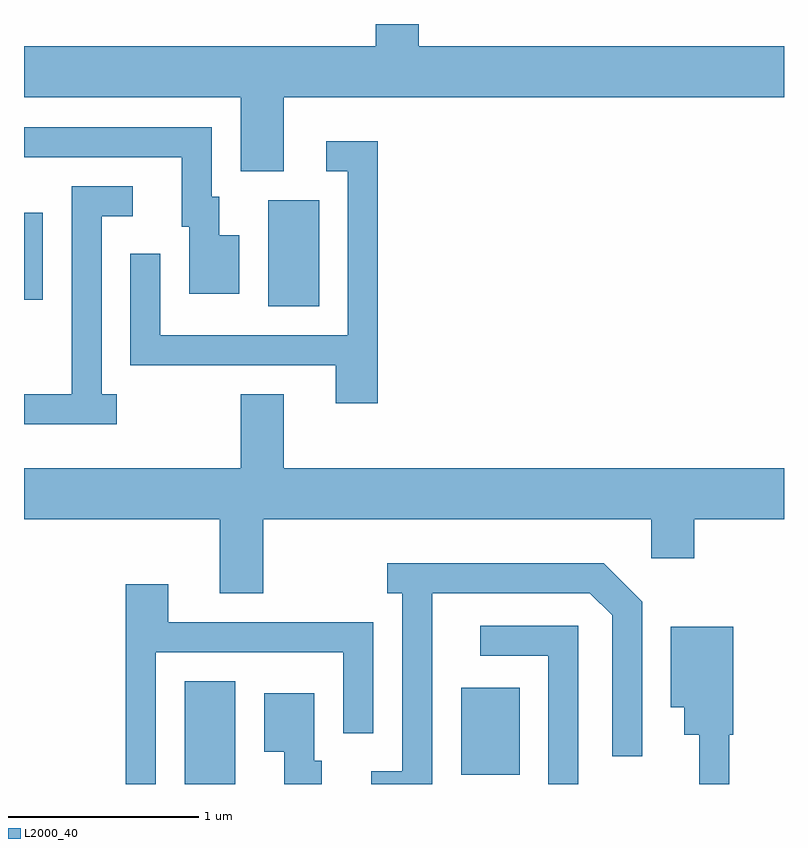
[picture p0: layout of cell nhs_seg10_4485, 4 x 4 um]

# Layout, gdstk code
import gdstk
lib = gdstk.Library(unit=1e-6, precision=1e-09)
def R(c, l, rs):  # rectangles x0, y0, x1, y1
    for r in rs: c.add(gdstk.rectangle(r[:2], r[2:], *l))
def P(c, l, *ps):  # polygons
    for p in ps: c.add(gdstk.Polygon(p, *l))
L2000_40 = (2000, 40)

nhs_seg10_4485 = lib.new_cell('nhs_seg10_4485')
R(nhs_seg10_4485, L2000_40, [(318.456,2112.522,318.724,2113.064), (319.911,2112.571,320.219,2113.029), (318.896,2115.036,319.164,2115.594), (317.611,2115.071,317.709,2115.529)])
P(nhs_seg10_4485, L2000_40, [(318.979,2116.136),(321.611,2116.136),(321.611,2116.404),(319.689,2116.404),(319.689,2116.522),(319.461,2116.522),(319.461,2116.404),(317.611,2116.404),(317.611,2116.136),(318.751,2116.136),(318.751,2115.746),(318.979,2115.746)],
  [(318.744,2115.409),(318.639,2115.409),(318.639,2115.614),(318.599,2115.614),(318.599,2115.979),(317.611,2115.979),(317.611,2115.821),(318.441,2115.821),(318.441,2115.456),(318.481,2115.456),(318.481,2115.101),(318.744,2115.101)],
  [(319.474,2115.904),(319.203,2115.904),(319.203,2115.746),(319.316,2115.746),(319.316,2114.884),(318.329,2114.884),(318.329,2115.313),(318.171,2115.313),(318.171,2114.726),(319.251,2114.726),(319.251,2114.526),(319.474,2114.526)],
  [(318.098,2114.574),(318.019,2114.574),(318.019,2115.511),(318.183,2115.511),(318.183,2115.669),(317.861,2115.669),(317.861,2114.574),(317.611,2114.574),(317.611,2114.416),(318.098,2114.416)],
  [(318.869,2113.916),(320.911,2113.916),(320.911,2113.711),(321.139,2113.711),(321.139,2113.916),(321.611,2113.916),(321.611,2114.184),(318.979,2114.184),(318.979,2114.574),(318.751,2114.574),(318.751,2114.184),(317.611,2114.184),(317.611,2113.916),(318.641,2113.916),(318.641,2113.526),(318.869,2113.526)],
  [(319.759,2113.526),(320.589,2113.526),(320.706,2113.409),(320.706,2112.668),(320.864,2112.668),(320.864,2113.482),(320.662,2113.684),(319.523,2113.684),(319.523,2113.526),(319.601,2113.526),(319.601,2112.589),(319.438,2112.589),(319.438,2112.522),(319.759,2112.522)],
  [(318.304,2113.216),(319.291,2113.216),(319.291,2112.788),(319.449,2112.788),(319.449,2113.374),(318.369,2113.374),(318.369,2113.574),(318.146,2113.574),(318.146,2112.522),(318.304,2112.522)],
  [(320.529,2113.354),(320.013,2113.354),(320.013,2113.196),(320.371,2113.196),(320.371,2112.522),(320.529,2112.522)],
  [(321.324,2112.781),(321.344,2112.781),(321.344,2113.349),(321.016,2113.349),(321.016,2112.926),(321.086,2112.926),(321.086,2112.781),(321.166,2112.781),(321.166,2112.522),(321.324,2112.522)],
  [(319.179,2112.644),(319.139,2112.644),(319.139,2112.999),(318.876,2112.999),(318.876,2112.691),(318.981,2112.691),(318.981,2112.522),(319.179,2112.522)])

lib.write_gds('nhs_seg10_4485.gds')
